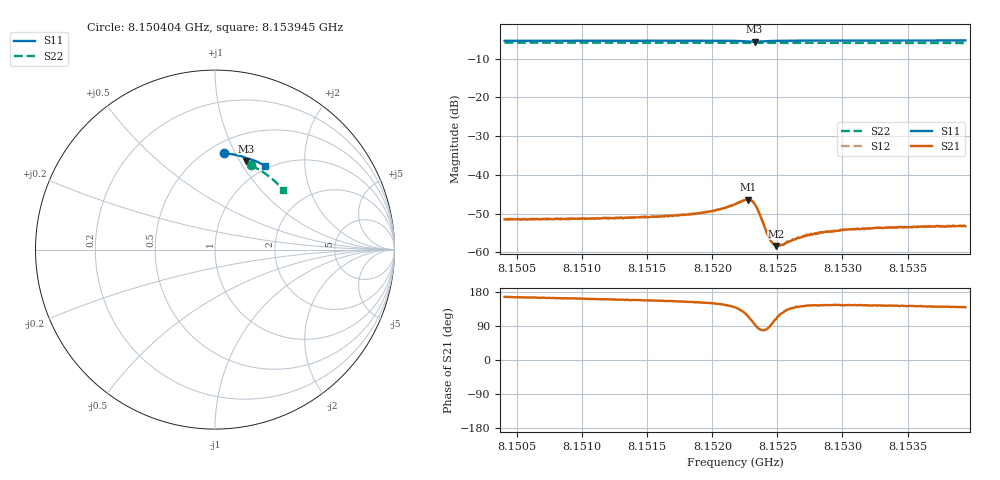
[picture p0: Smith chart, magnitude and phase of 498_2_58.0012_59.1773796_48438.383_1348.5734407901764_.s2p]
#  HZ  S  RI  R  50.00
! Rohde & Schwarz Vector Network Analyzer
! Rohde-Schwarz,ZNB20-2Port,1311601062101988,3.16
! Created: UTC 3/21/2024, 1:12:40 AM
! freq[Hz]  re:S11  im:S11  re:S21  im:S21  re:S12  im:S12  re:S22  im:S22
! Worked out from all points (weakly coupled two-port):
!   401 points, 8.150404 GHz to 8.153945 GHz, reference 50 ohm
!   highest |S21| = -46.40 dB at 8.152272 GHz (marker M1); lowest = -58.4 dB at 8.152493 GHz (marker M2)
!   lowest |S11| = -5.6 dB at 8.152325 GHz (marker M3), VSWR 3.21, Z = 39.1 + j53.4 ohm
!   |S11| at or under -10 dB: nowhere
!   |S22| runs from -5.9 to -5.9 dB; largest |S21 - S12| = 0.00012
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8.1504039e9  0.0508 0.5362  -0.00259 0.00062  -0.0026 0.000667  0.2002 0.4686
8.150997e9  0.0922 0.5317  -0.00258 0.000842  -0.00256 0.000921  0.2342 0.4516
8.1515901e9  0.1333 0.5238  -0.00264 0.00114  -0.00267 0.00121  0.2668 0.4321
8.1518379e9  0.1508 0.5192  -0.00277 0.0014  -0.00281 0.00144  0.2799 0.4234
8.1519707e9  0.1606 0.516  -0.00289 0.00165  -0.0029 0.00169  0.2868 0.4184
8.1521035e9  0.1709 0.5112  -0.00309 0.00216  -0.00309 0.00221  0.2937 0.4133
8.1521743e9  0.1764 0.5072  -0.00314 0.00273  -0.00313 0.00283  0.2972 0.4104
8.1522363e9  0.1799 0.5014  -0.00282 0.00367  -0.00279 0.00374  0.3003 0.4079
8.1522717e9  0.1797 0.4971  -0.00214 0.00428  -0.0021 0.00433  0.3018 0.4064
8.1522982e9  0.1773 0.4946  -0.00128 0.00448  -0.00123 0.00453  0.3031 0.4053
8.1523248e9  0.1744 0.4946  -0.000293 0.00419  -0.000248 0.00425  0.3042 0.4045
8.1523602e9  0.172 0.4981  0.00045 0.00317  0.000489 0.00319  0.306 0.4034
8.1524222e9  0.1758 0.5038  0.000213 0.00171  0.000269 0.00174  0.309 0.4012
8.1524399e9  0.1776 0.5047  4.64e-05 0.00148  0.000109 0.0015  0.3098 0.4004
8.1524664e9  0.1804 0.5055  -0.0002 0.00128  -0.000213 0.00128  0.3112 0.3994
8.152493e9  0.1829 0.5057  -0.000393 0.00114  -0.000378 0.00116  0.3127 0.3982
8.1525284e9  0.1863 0.5057  -0.000663 0.00104  -0.00064 0.00107  0.3143 0.397
8.1526346e9  0.1953 0.5041  -0.0011 0.000969  -0.00109 0.000976  0.3196 0.3926
8.1527674e9  0.2053 0.5011  -0.00138 0.000961  -0.00137 0.00104  0.3262 0.3871
8.153033e9  0.2235 0.4942  -0.00161 0.00112  -0.00157 0.00116  0.3386 0.3758
8.1533605e9  0.2447 0.4848  -0.00168 0.00124  -0.00168 0.00123  0.3533 0.3611
8.1539448e9  0.2807 0.4659  -0.00165 0.00142  -0.00165 0.00147  0.3779 0.3338
